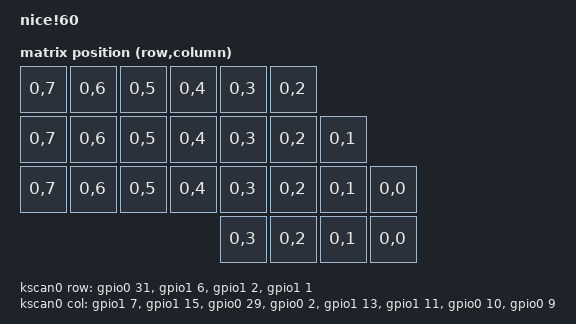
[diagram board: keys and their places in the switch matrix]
#include <dt-bindings/zmk/matrix_transform.h>

/ {
    model = "nice!60";
    compatible = "nice,60";

    chosen {
        zephyr,code-partition = &code_partition;
        zephyr,sram = &sram0;
        zephyr,flash = &flash0;
        zmk,battery = &vbatt;
        zmk,kscan = &kscan0;
        /*zmk,physical-layout = &layout_60_ansi;*/
        zmk,underglow = &led_strip;
    };
        default_transform: keymap_transform_0 {
        compatible = "zmk,matrix-transform";
        columns = <8>;
        rows = <4>;
        map = <
        RC(0,7) RC(0,6) RC(0,5) RC(0,4) RC(0,3) RC(0,2)
        RC(0,7) RC(0,6) RC(0,5) RC(0,4) RC(0,3) RC(0,2) RC(0,1)
        RC(0,7) RC(0,6) RC(0,5) RC(0,4) RC(0,3) RC(0,2) RC(0,1) RC(0,0)
                                        RC(0,3) RC(0,2) RC(0,1) RC(0,0)

        >;/*RC(fila,col)*/
    };

    kscan0: kscan {
        compatible = "zmk,kscan-gpio-matrix";
        wakeup-source;
        diode-direction = "col2row";
        row-gpios
            = <&gpio0 31  (GPIO_ACTIVE_HIGH | GPIO_PULL_DOWN)> /* fila 0 */
            , <&gpio1 6  (GPIO_ACTIVE_HIGH | GPIO_PULL_DOWN)> /* fila 1 */
            , <&gpio1 2 (GPIO_ACTIVE_HIGH | GPIO_PULL_DOWN)> /* fila 2 */
            , <&gpio1 1 (GPIO_ACTIVE_HIGH | GPIO_PULL_DOWN)> /* fila 3 */
            ;
        col-gpios
            = <&gpio1 7 GPIO_ACTIVE_HIGH> /* col 0 */
            , <&gpio1 15  GPIO_ACTIVE_HIGH> /* col 1 */
            , <&gpio0 29 GPIO_ACTIVE_HIGH> /* col 2 */
            , <&gpio0 2 GPIO_ACTIVE_HIGH> /* col 3 */
            , <&gpio1 13 GPIO_ACTIVE_HIGH> /* col 4 */
            , <&gpio1 11 GPIO_ACTIVE_HIGH> /* col 5 */
            , <&gpio0 10  GPIO_ACTIVE_HIGH> /* col 6 */
            , <&gpio0 9  GPIO_ACTIVE_HIGH> /* col 7 */
            ;
    };
};
